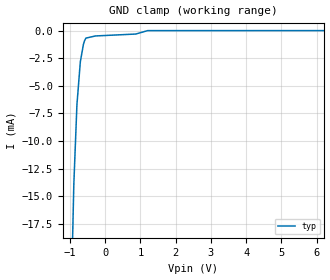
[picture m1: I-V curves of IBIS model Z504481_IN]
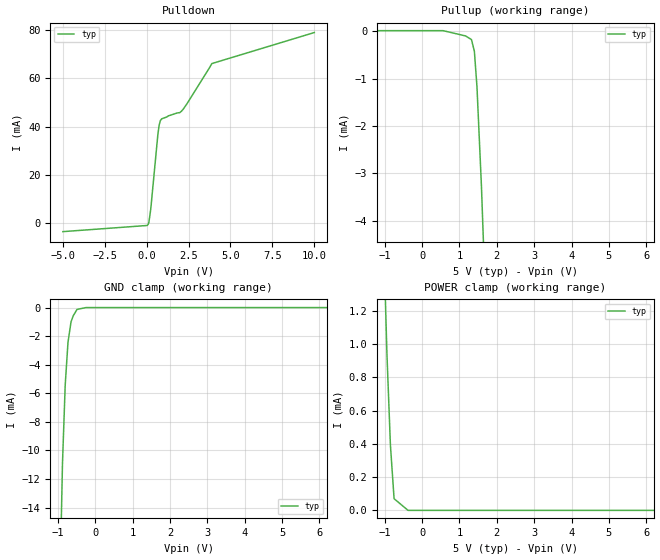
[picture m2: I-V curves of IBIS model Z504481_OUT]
| YOU ARE ONLY AUTHORIZED TO USE THIS SOFTWARE
| ACCORDING TO LICENSOR'S LICENSE RESTRICTIONS.
[IBIS Ver] 3.1
[File Name] sn54ls86j.ibs
[File Rev] 2.0
[Source] Measured and created by ICX Technology
[Date] Friday 7/14/00 9:08:15 AM
[Copyright]
| (C) COPYRIGHT 1993-2000
| MENTOR GRAPHICS CORPORATION
| ICX STANDARD LIBRARY, ICX PROJECT MODELING,
| ICX CUSTOM MODELING, ICX VENDOR MODEL
| ALL RIGHTS RESERVED.
| THE FOLLOWING ARE TRADEMARKS OR SERVICE MARKS OF
| MENTOR GRAPHICS CORPORATION:ICX (R), ICX STANDARD
| LIBRARY(R), ICX PROJECT MODELING(R), ICX CUSTOM
| MODELING(R), qualityIBIS(TM), MODELVIEWER(TM),
| AND MODELEDITOR(TM)
| ALL COPIES OF SOFTWARE, INCLUDING BUT NOT LIMITED TO
| ANY MODIFICATIONS, ENHANCEMENTS OR DERIVATIVE WORKS,
| MUST CONTAIN ALL MENTOR GRAPHICS CORPORATION'S
| NOTICES AND LEGENDS, INCLUDING THOSE EMBEDDED IN
| SOFTWARE AND THOSE AFFIXED TO SOFTWARE MEDIUM
| AND CONTAINER, AS RECEIVED FROM MENTOR GRAPHICS
| CORPORATION.
|  ZAP Model Builder 2.7
[Component] SN54LS86J
[Manufacturer] OnSemiconductor
[Package]
| variable   typ   min   max
R_pkg  .21ohms NA NA
L_pkg  4.543nH NA NA
C_pkg  1.8pF NA NA
[Pin] signal_name  model_name  R_pin  L_pin C_pin
1 A Z504481_IN .22 6.757n 2.434p
2 B Z504481_IN .212 4.757n 1.941p
3 Y Z504481_OUT .204 3.257n 1.448p
4 A Z504481_IN .196 2.257n .955p
5 B Z504481_IN .204 3.257n 1.448p
6 Y Z504481_OUT .212 4.757n 1.941p
7 GND GND .22 6.757n 2.434p
8 Y Z504481_OUT .22 6.757n 2.434p
9 A Z504481_IN .212 4.757n 1.941p
10 B Z504481_IN .204 3.257n 1.448p
11 Y Z504481_OUT .196 2.257n .955p
12 A Z504481_IN .204 3.257n 1.448p
13 B Z504481_IN .212 4.757n 1.941p
14 VCC POWER .22 6.757n 2.434p
| Models and submodels in the file (2): Z504481_IN (Input), Z504481_OUT (Output)
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| (C) COPYRIGHT 1993-2000
| MENTOR GRAPHICS CORPORATION
| ICX STANDARD LIBRARY, ICX PROJECT MODELING,
| ICX CUSTOM MODELING, ICX VENDOR MODEL
| ALL RIGHTS RESERVED.
| THE FOLLOWING ARE TRADEMARKS OR SERVICE MARKS OF
| MENTOR GRAPHICS CORPORATION:ICX (R), ICX STANDARD
| LIBRARY(R), ICX PROJECT MODELING(R), ICX CUSTOM
| MODELING(R), qualityIBIS(TM), MODELVIEWER(TM),
| AND MODELEDITOR(TM)
| ALL COPIES OF SOFTWARE, INCLUDING BUT NOT LIMITED TO
| ANY MODIFICATIONS, ENHANCEMENTS OR DERIVATIVE WORKS,
| MUST CONTAIN ALL MENTOR GRAPHICS CORPORATION'S
| NOTICES AND LEGENDS, INCLUDING THOSE EMBEDDED IN
| SOFTWARE AND THOSE AFFIXED TO SOFTWARE MEDIUM
| AND CONTAINER, AS RECEIVED FROM MENTOR GRAPHICS
| CORPORATION.
| Model Application Version 1.89 2/18/99.
[Model] Z504481_IN
Model_type Input
Vinl = 800.0mV
Vinh = 2.000V
C_comp 4.000pF NA NA
| variable typ   min   max
[Voltage Range] 5.000V NA NA
[GND Clamp Reference] 0.000V NA NA
[POWER Clamp Reference] 5.000V NA NA
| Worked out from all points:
|   GND clamp passes 1 mA (typ) near -0.59 V on its own axis
[GND Clamp]
-5V       -593.4mA   NA         NA
-886.8mV  -13.93mA   NA         NA
-798.9mV  -6.723mA   NA         NA
-702.1mV  -2.826mA   NA         NA
-615.2mV  -1.255mA   NA         NA
-580.8mV  -900.4uA   NA         NA
-542.3mV  -679.3uA   NA         NA
-271.1mV  -485.3uA   NA         NA
869.1mV   -313.1uA   NA         NA
1.207V    -2.528uA   NA         NA
10V       733.8nA    NA         NA
[POWER Clamp]
-5V       0A         NA         NA
10V       0A         NA         NA
| (C) COPYRIGHT 1993-2000
| MENTOR GRAPHICS CORPORATION
| ICX STANDARD LIBRARY, ICX PROJECT MODELING,
| ICX CUSTOM MODELING, ICX VENDOR MODEL
| ALL RIGHTS RESERVED.
| THE FOLLOWING ARE TRADEMARKS OR SERVICE MARKS OF
| MENTOR GRAPHICS CORPORATION:ICX (R), ICX STANDARD
| LIBRARY(R), ICX PROJECT MODELING(R), ICX CUSTOM
| MODELING(R), qualityIBIS(TM), MODELVIEWER(TM),
| AND MODELEDITOR(TM)
| ALL COPIES OF SOFTWARE, INCLUDING BUT NOT LIMITED TO
| ANY MODIFICATIONS, ENHANCEMENTS OR DERIVATIVE WORKS,
| MUST CONTAIN ALL MENTOR GRAPHICS CORPORATION'S
| NOTICES AND LEGENDS, INCLUDING THOSE EMBEDDED IN
| SOFTWARE AND THOSE AFFIXED TO SOFTWARE MEDIUM
| AND CONTAINER, AS RECEIVED FROM MENTOR GRAPHICS
| CORPORATION.
| Model Application Version 1.89 2/18/99.
[Model] Z504481_OUT
Model_type Output
Vref=5.000V
Rref=2.000kohms
Cref=15.00pF
Vmeas=1.300V
C_comp 8.000pF NA NA
| variable typ   min   max
[Voltage Range] 5.000V NA NA
[POWER Clamp Reference] 5.000V NA NA
[Pullup Reference] 5.000V NA NA
[Pulldown Reference] 0.000V NA NA
[GND Clamp Reference] 0.000V NA NA
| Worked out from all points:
|   slope of the pulldown table from 0 to 0.75 V, typ, clamps not added: 18 ohm
|   slope of the pullup table from 0 to 0.75 V, typ, clamps not added: 21.9 kohm
|   GND clamp passes 1 mA (typ) near -0.64 V on its own axis
[GND Clamp]
-5V       -926.9mA   NA         NA
-1.164V   -56mA      NA         NA
-1.014V   -28.58mA   NA         NA
-873.5mV  -10.92mA   NA         NA
-800.8mV  -5.437mA   NA         NA
-726.3mV  -2.435mA   NA         NA
-644.5mV  -998.6uA   NA         NA
-585.9mV  -576.4uA   NA         NA
-483.8mV  -127.2uA   NA         NA
-241.9mV  0A         NA         NA
10V       0A         NA         NA
[Pulldown]
-5V       -3.547mA   NA         NA
29.34mV   -993.2uA   NA         NA
131.8mV   286.3uA    NA         NA
242.8mV   5.709mA    NA         NA
665.3mV   36.53mA    NA         NA
742.6mV   40.58mA    NA         NA
820.3mV   42.54mA    NA         NA
898.2mV   43.23mA    NA         NA
2.071V    46.35mA    NA         NA
2.391V    49.33mA    NA         NA
3.887V    66.13mA    NA         NA
10V       79mA       NA         NA
[Pullup]
-5V       16.02uA    NA         NA
566mV     16.02uA    NA         NA
1.164V    -95.27uA   NA         NA
1.323V    -171.4uA   NA         NA
1.401V    -419.5uA   NA         NA
1.47V     -1.161mA   NA         NA
1.591V    -3.286mA   NA         NA
10V       -190.6mA   NA         NA
[POWER Clamp]
-5V       33.03mA    NA         NA
-938mV    938.1uA    NA         NA
-845mV    391.9uA    NA         NA
-747mV    70.03uA    NA         NA
-373.5mV  0A         NA         NA
10V       0A         NA         NA
[Ramp]
| variable typ min max
dV/dt_r 1.895/8.251n NA NA
dV/dt_f 1.895/2.876n NA NA
R_load = 500.0Ohms
